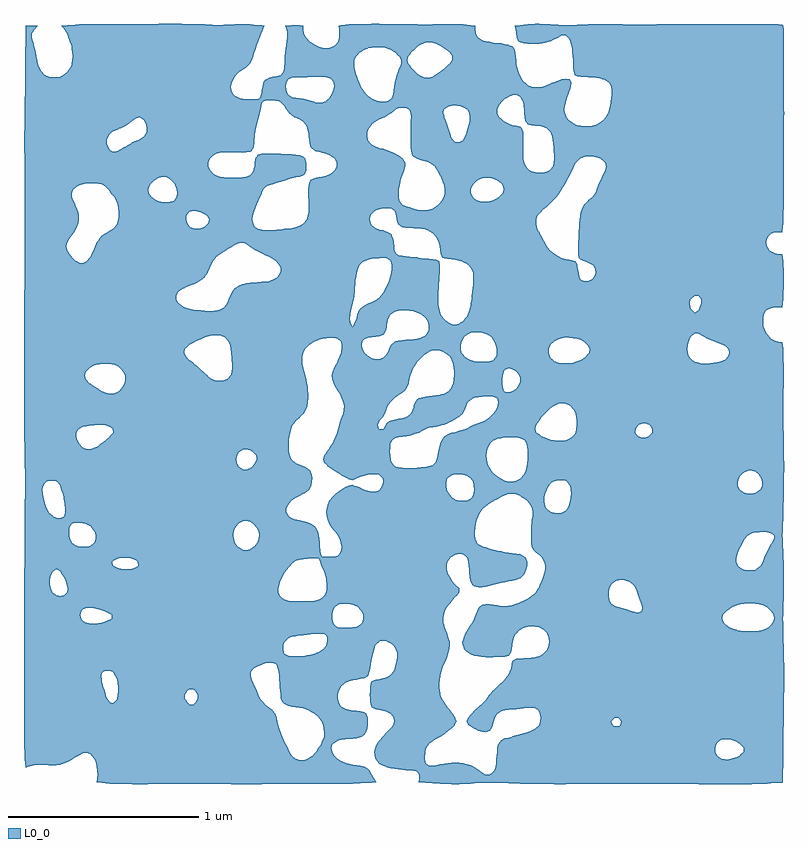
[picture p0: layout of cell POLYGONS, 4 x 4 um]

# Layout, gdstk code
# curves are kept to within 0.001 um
import gdstk
lib = gdstk.Library(unit=1e-6, precision=1e-09)
def P(c, l, *ps):  # polygons
    for p in ps: c.add(gdstk.Polygon(p, *l))
L0_0 = (0, 0)

polygons = lib.new_cell('POLYGONS')
P(polygons, L0_0, [(-1.37,-2),(-1.15,-1.997),(-0.91,-2),(-0.75,-2),(-0.53,-1.997),(-0.27,-1.997),(-0.147,-1.99),(-0.18,-1.93),(-1.614,-1.93),(-1.613,-1.95),(-1.617,-1.99),(-1.59,-1.994),(-1.53,-1.998)],
  [(1.79,-2),(1.87,-1.999),(1.99,-1.993),(1.993,-1.99),(1.993,-1.93),(0.474,-1.93),(0.47,-1.936),(0.45,-1.95),(0.43,-1.95),(0.41,-1.941),(0.398,-1.93),(0.056,-1.93),(0.07,-1.936),(0.08,-1.95),(0.08,-1.97),(0.076,-1.99),(0.11,-1.993),(0.25,-2),(0.33,-1.999),(0.43,-1.992),(0.47,-1.992),(0.69,-1.999),(0.79,-2),(0.99,-1.998)],
  [(-0.19,-1.919),(-0.206,-1.91),(-0.23,-1.903),(-0.29,-1.894),(-0.31,-1.889),(-0.33,-1.88),(-0.35,-1.868),(-0.368,-1.85),(-0.379,-1.83),(-0.383,-1.81),(-0.377,-1.79),(-0.37,-1.784),(-0.35,-1.773),(-0.33,-1.767),(-0.25,-1.758),(-0.23,-1.753),(-0.224,-1.75),(-0.421,-1.75),(-0.437,-1.79),(-0.463,-1.83),(-0.481,-1.85),(-0.49,-1.857),(-0.51,-1.869),(-0.53,-1.875),(-0.55,-1.875),(-0.57,-1.868),(-0.59,-1.85),(-0.61,-1.817),(-0.642,-1.75),(-1.998,-1.75),(-1.998,-1.81),(-1.995,-1.87),(-1.99,-1.914),(-1.97,-1.906),(-1.95,-1.901),(-1.93,-1.899),(-1.83,-1.9),(-1.81,-1.897),(-1.77,-1.883),(-1.746,-1.87),(-1.71,-1.847),(-1.69,-1.838),(-1.67,-1.836),(-1.65,-1.844),(-1.643,-1.85),(-1.63,-1.866),(-1.621,-1.89),(-1.616,-1.91),(-1.614,-1.93),(-0.18,-1.93)],
  [(-0.13,-1.892),(-0.11,-1.904),(-0.095,-1.91),(-0.07,-1.917),(-0.03,-1.923),(0.056,-1.93),(0.398,-1.93),(0.367,-1.91),(0.35,-1.902),(0.33,-1.895),(0.29,-1.888),(0.25,-1.888),(0.23,-1.89),(0.15,-1.903),(0.13,-1.903),(0.113,-1.89),(0.109,-1.87),(0.109,-1.85),(0.111,-1.83),(0.117,-1.81),(0.13,-1.789),(0.156,-1.77),(0.19,-1.75),(-0.112,-1.75),(-0.145,-1.79),(-0.153,-1.81),(-0.156,-1.83),(-0.155,-1.85),(-0.15,-1.868),(-0.133,-1.89)],
  [(0.489,-1.83),(0.485,-1.89),(0.482,-1.91),(0.474,-1.93),(1.993,-1.93),(1.996,-1.75),(0.568,-1.75),(0.53,-1.76),(0.51,-1.77),(0.496,-1.79),(0.491,-1.81),(1.636,-1.81),(1.643,-1.79),(1.65,-1.781),(1.664,-1.77),(1.67,-1.767),(1.69,-1.763),(1.71,-1.764),(1.73,-1.769),(1.75,-1.778),(1.77,-1.79),(1.788,-1.81),(1.787,-1.83),(1.765,-1.85),(1.75,-1.858),(1.711,-1.87),(1.69,-1.871),(1.67,-1.866),(1.65,-1.853),(1.647,-1.85),(1.637,-1.83),(1.636,-1.81),(0.491,-1.81)],
  [(-0.65,-1.73),(-0.657,-1.71),(-0.671,-1.65),(-0.678,-1.63),(-0.694,-1.61),(-0.73,-1.583),(-0.75,-1.561),(-0.757,-1.55),(-1.087,-1.55),(-1.095,-1.57),(-1.11,-1.583),(-1.13,-1.581),(-1.142,-1.57),(-1.153,-1.55),(-1.509,-1.55),(-1.524,-1.57),(-1.53,-1.574),(-1.55,-1.57),(-1.563,-1.55),(-2,-1.55),(-1.998,-1.75),(-0.642,-1.75)],
  [(-0.21,-1.74),(-0.202,-1.73),(-0.194,-1.71),(-0.191,-1.69),(-0.192,-1.65),(-0.199,-1.63),(-0.21,-1.622),(-0.23,-1.617),(-0.291,-1.61),(-0.31,-1.604),(-0.333,-1.59),(-0.345,-1.57),(-0.349,-1.55),(-0.648,-1.55),(-0.639,-1.57),(-0.63,-1.578),(-0.6,-1.59),(-0.53,-1.602),(-0.51,-1.609),(-0.471,-1.63),(-0.45,-1.648),(-0.433,-1.67),(-0.426,-1.69),(-0.42,-1.73),(-0.421,-1.75),(-0.224,-1.75)],
  [(0.21,-1.737),(0.246,-1.71),(0.267,-1.69),(0.27,-1.681),(0.277,-1.67),(0.27,-1.658),(0.268,-1.65),(0.255,-1.63),(0.224,-1.59),(0.198,-1.55),(-0.179,-1.55),(-0.177,-1.57),(-0.173,-1.59),(-0.17,-1.595),(-0.15,-1.607),(-0.11,-1.614),(-0.09,-1.62),(-0.07,-1.63),(-0.054,-1.65),(-0.051,-1.67),(-0.058,-1.69),(-0.074,-1.71),(-0.112,-1.75),(0.19,-1.75)],
  [(0.71,-1.69),(0.689,-1.71),(0.67,-1.719),(0.641,-1.73),(0.568,-1.75),(1.996,-1.75),(1.998,-1.55),(0.436,-1.55),(0.43,-1.558),(0.39,-1.595),(0.337,-1.65),(0.329,-1.67),(0.341,-1.69),(0.373,-1.71),(0.39,-1.718),(0.41,-1.724),(0.43,-1.726),(0.45,-1.72),(0.459,-1.71),(0.467,-1.69),(0.471,-1.67),(0.478,-1.65),(0.49,-1.631),(0.51,-1.618),(0.541,-1.61),(0.65,-1.598),(0.67,-1.597),(0.69,-1.602),(0.702,-1.61),(0.71,-1.62),(0.714,-1.63),(0.718,-1.65),(0.717,-1.67),(1.089,-1.67),(1.109,-1.65),(1.13,-1.653),(1.142,-1.67),(1.137,-1.69),(1.13,-1.695),(1.11,-1.696),(1.097,-1.69),(1.089,-1.67),(0.717,-1.67)],
  [(-2,-1.47),(-2,-1.55),(-1.563,-1.55),(-1.57,-1.534),(-1.588,-1.47),(-1.594,-1.43),(-1.59,-1.418),(-1.584,-1.41),(-1.57,-1.404),(-1.55,-1.403),(-1.53,-1.412),(-1.519,-1.43),(-1.51,-1.449),(-1.506,-1.47),(-1.504,-1.51),(-1.509,-1.55),(-1.153,-1.55),(-1.154,-1.53),(-1.15,-1.521),(-1.142,-1.51),(-1.13,-1.502),(-1.11,-1.502),(-1.099,-1.51),(-1.09,-1.523),(-1.087,-1.53),(-1.087,-1.55),(-0.757,-1.55),(-0.802,-1.45),(-0.808,-1.43),(-0.806,-1.41),(-0.79,-1.39),(-0.75,-1.371),(-0.71,-1.361),(-0.69,-1.361),(-0.67,-1.372),(-0.664,-1.39),(-0.657,-1.43),(-0.648,-1.55),(-0.349,-1.55),(-0.348,-1.53),(-0.343,-1.51),(-0.333,-1.49),(-0.313,-1.47),(-0.29,-1.458),(-0.27,-1.453),(-0.21,-1.444),(-0.19,-1.432),(-0.183,-1.41),(-0.17,-1.339),(-0.163,-1.31),(-0.459,-1.31),(-0.47,-1.314),(-0.51,-1.323),(-0.53,-1.326),(-0.57,-1.328),(-0.59,-1.328),(-0.61,-1.325),(-0.63,-1.314),(-0.633,-1.31),(-1.999,-1.31)],
  [(0.191,-1.53),(0.185,-1.49),(0.185,-1.47),(0.19,-1.434),(0.201,-1.39),(0.233,-1.31),(-0.037,-1.31),(-0.036,-1.33),(-0.039,-1.35),(-0.043,-1.37),(-0.056,-1.41),(-0.075,-1.43),(-0.09,-1.438),(-0.13,-1.449),(-0.15,-1.451),(-0.17,-1.459),(-0.175,-1.47),(-0.178,-1.49),(-0.18,-1.53),(-0.179,-1.55),(0.198,-1.55)],
  [(0.47,-1.332),(0.51,-1.331),(0.55,-1.325),(0.562,-1.31),(0.337,-1.31),(0.37,-1.324),(0.39,-1.328),(0.43,-1.332)],
  [(1.998,-1.53),(1.998,-1.31),(0.737,-1.31),(0.73,-1.316),(0.71,-1.327),(0.69,-1.333),(0.65,-1.338),(0.59,-1.341),(0.573,-1.35),(0.57,-1.357),(0.563,-1.39),(0.557,-1.41),(0.546,-1.43),(0.53,-1.449),(0.467,-1.51),(0.449,-1.53),(0.436,-1.55),(1.998,-1.55)],
  [(-1.55,-1.135),(-1.59,-1.151),(-1.61,-1.154),(-1.65,-1.155),(-1.674,-1.15),(-1.69,-1.14),(-1.699,-1.13),(-1.704,-1.11),(-1.7,-1.09),(-2,-1.09),(-1.999,-1.31),(-0.633,-1.31),(-0.637,-1.29),(-0.636,-1.27),(-0.629,-1.25),(-0.605,-1.23),(-0.59,-1.225),(-0.55,-1.218),(-0.45,-1.208),(-0.43,-1.208),(-0.422,-1.21),(-0.41,-1.217),(-0.405,-1.23),(-0.404,-1.25),(-0.409,-1.27),(-0.425,-1.29),(-0.45,-1.306),(-0.459,-1.31),(-0.163,-1.31),(-0.158,-1.29),(-0.15,-1.267),(-0.132,-1.25),(-0.11,-1.247),(-0.09,-1.249),(-0.07,-1.259),(-0.056,-1.27),(-0.043,-1.29),(-0.037,-1.31),(0.233,-1.31),(0.241,-1.27),(0.24,-1.25),(0.218,-1.19),(0.207,-1.15),(0.205,-1.13),(0.208,-1.11),(0.214,-1.09),(-0.224,-1.09),(-0.216,-1.11),(-0.215,-1.13),(-0.221,-1.15),(-0.23,-1.161),(-0.25,-1.172),(-0.27,-1.176),(-0.31,-1.178),(-0.35,-1.174),(-0.36,-1.17),(-0.37,-1.159),(-0.374,-1.15),(-0.377,-1.13),(-0.375,-1.09),(-1.576,-1.09),(-1.538,-1.11),(-1.539,-1.13)],
  [(0.35,-1.162),(0.321,-1.21),(0.307,-1.25),(0.308,-1.27),(0.317,-1.29),(0.337,-1.31),(0.562,-1.31),(0.567,-1.29),(0.572,-1.25),(0.577,-1.23),(0.588,-1.21),(0.607,-1.19),(0.63,-1.178),(0.65,-1.172),(0.67,-1.17),(0.71,-1.174),(0.73,-1.184),(0.75,-1.204),(0.754,-1.21),(0.761,-1.23),(0.764,-1.25),(0.762,-1.27),(0.754,-1.29),(0.737,-1.31),(1.998,-1.31),(1.993,-1.13),(1.994,-1.09),(1.933,-1.09),(1.945,-1.11),(1.947,-1.13),(1.941,-1.15),(1.924,-1.17),(1.91,-1.179),(1.89,-1.188),(1.87,-1.193),(1.83,-1.197),(1.77,-1.194),(1.73,-1.183),(1.703,-1.17),(1.681,-1.15),(1.673,-1.13),(1.677,-1.11),(1.694,-1.09),(1.25,-1.09),(1.23,-1.098),(1.21,-1.094),(1.199,-1.09),(0.384,-1.09),(0.37,-1.128)],
  [(-1.773,-0.99),(-1.79,-1.008),(-1.81,-1.011),(-1.83,-1.007),(-1.85,-0.992),(-1.86,-0.97),(-1.864,-0.95),(-1.864,-0.93),(-1.861,-0.91),(-1.999,-0.91),(-2,-1.09),(-1.7,-1.09),(-1.69,-1.079),(-1.67,-1.073),(-1.65,-1.073),(-1.63,-1.076),(-1.61,-1.08),(-1.576,-1.09),(-0.375,-1.09),(-0.366,-1.07),(-0.35,-1.057),(-0.33,-1.052),(-0.31,-1.051),(-0.29,-1.052),(-0.27,-1.056),(-0.25,-1.065),(-0.242,-1.07),(-0.224,-1.09),(0.214,-1.09),(0.23,-1.062),(0.25,-1.037),(0.276,-1.01),(0.291,-0.99),(0.29,-0.97),(0.25,-0.928),(0.239,-0.91),(-0.412,-0.91),(-0.407,-0.95),(-0.407,-0.97),(-0.41,-0.991),(-0.419,-1.01),(-0.43,-1.019),(-0.45,-1.03),(-0.51,-1.039),(-0.57,-1.039),(-0.61,-1.034),(-0.63,-1.029),(-0.65,-1.015),(-0.654,-1.01),(-0.662,-0.99),(-0.662,-0.97),(-0.658,-0.95),(-0.65,-0.927),(-0.642,-0.91),(-1.79,-0.91),(-1.774,-0.95),(-1.77,-0.969)],
  [(0.43,-0.961),(0.49,-0.945),(0.59,-0.925),(0.61,-0.916),(0.619,-0.91),(0.345,-0.91),(0.35,-0.936),(0.358,-0.95),(0.37,-0.959),(0.39,-0.964),(0.41,-0.964)],
  [(0.65,-1.024),(0.63,-1.035),(0.59,-1.052),(0.55,-1.062),(0.51,-1.063),(0.45,-1.054),(0.43,-1.053),(0.41,-1.057),(0.39,-1.077),(0.384,-1.09),(1.199,-1.09),(1.17,-1.08),(1.11,-1.064),(1.09,-1.05),(1.08,-1.03),(1.076,-1.01),(1.076,-0.99),(1.08,-0.97),(1.089,-0.95),(1.11,-0.932),(1.13,-0.927),(1.15,-0.926),(1.171,-0.93),(1.19,-0.939),(1.205,-0.95),(1.219,-0.97),(1.227,-0.99),(1.25,-1.06),(1.252,-1.07),(1.25,-1.09),(1.694,-1.09),(1.725,-1.07),(1.75,-1.06),(1.77,-1.054),(1.81,-1.048),(1.852,-1.05),(1.89,-1.06),(1.91,-1.07),(1.933,-1.09),(1.994,-1.09),(1.998,-0.99),(1.998,-0.91),(0.733,-0.91),(0.71,-0.963),(0.694,-0.99),(0.673,-1.01)],
  [(0.742,-0.87),(0.733,-0.91),(1.998,-0.91),(1.996,-0.79),(1.992,-0.728),(1.938,-0.728),(1.93,-0.738),(1.91,-0.775),(1.888,-0.83),(1.877,-0.85),(1.87,-0.857),(1.852,-0.87),(1.83,-0.876),(1.81,-0.876),(1.783,-0.87),(1.77,-0.862),(1.756,-0.85),(1.75,-0.835),(1.749,-0.81),(1.754,-0.79),(1.77,-0.751),(1.783,-0.728),(0.67,-0.728),(0.673,-0.75),(0.683,-0.77),(0.71,-0.793),(0.726,-0.81),(0.738,-0.83),(0.742,-0.85)],
  [(-1.998,-0.87),(-1.999,-0.91),(-1.861,-0.91),(-1.85,-0.882),(-1.83,-0.869),(-1.81,-0.879),(-1.79,-0.91),(-0.642,-0.91),(-0.63,-0.889),(-0.61,-0.862),(-0.59,-0.84),(-0.57,-0.826),(-0.53,-0.816),(-0.49,-0.812),(-0.47,-0.812),(-0.45,-0.814),(-0.441,-0.83),(-0.435,-0.85),(-0.417,-0.89),(-0.412,-0.91),(0.239,-0.91),(0.229,-0.89),(0.225,-0.87),(0.224,-0.85),(0.228,-0.83),(0.242,-0.81),(0.25,-0.803),(0.27,-0.792),(0.29,-0.788),(0.31,-0.791),(0.33,-0.806),(0.332,-0.81),(0.338,-0.83),(0.341,-0.85),(0.345,-0.91),(0.619,-0.91),(0.636,-0.89),(0.644,-0.87),(0.648,-0.85),(0.647,-0.83),(0.641,-0.81),(0.63,-0.8),(0.606,-0.79),(0.53,-0.78),(0.47,-0.767),(0.414,-0.75),(0.39,-0.737),(0.382,-0.728),(-0.333,-0.728),(-0.329,-0.75),(-0.33,-0.77),(-0.341,-0.79),(-0.35,-0.798),(-0.37,-0.804),(-0.39,-0.805),(-0.43,-0.803),(-0.438,-0.79),(-0.445,-0.728),(-0.771,-0.728),(-0.79,-0.752),(-0.81,-0.764),(-0.83,-0.769),(-0.85,-0.766),(-0.87,-0.755),(-0.891,-0.728),(-1.629,-0.728),(-1.65,-0.745),(-1.67,-0.751),(-1.69,-0.752),(-1.71,-0.75),(-1.73,-0.743),(-1.75,-0.728),(-1.997,-0.728),(-1.997,-0.83),(-1.535,-0.83),(-1.53,-0.825),(-1.51,-0.815),(-1.491,-0.81),(-1.47,-0.809),(-1.448,-0.81),(-1.43,-0.814),(-1.41,-0.823),(-1.401,-0.83),(-1.4,-0.85),(-1.41,-0.858),(-1.43,-0.867),(-1.447,-0.87),(-1.475,-0.87),(-1.49,-0.868),(-1.53,-0.852),(-1.532,-0.85),(-1.535,-0.83),(-1.997,-0.83)],
  [(-1.788,-0.59),(-1.81,-0.6),(-1.83,-0.598),(-1.849,-0.59),(-1.87,-0.571),(-1.88,-0.55),(-1.887,-0.53),(-1.898,-0.49),(-1.994,-0.49),(-1.996,-0.55),(-1.997,-0.728),(-1.75,-0.728),(-1.758,-0.71),(-1.762,-0.69),(-1.761,-0.65),(-1.75,-0.63),(-1.73,-0.625),(-1.69,-0.627),(-1.67,-0.632),(-1.65,-0.644),(-1.643,-0.65),(-1.629,-0.67),(-1.623,-0.69),(-1.623,-0.71),(-1.629,-0.728),(-0.891,-0.728),(-0.897,-0.71),(-0.899,-0.69),(-0.896,-0.67),(-0.888,-0.65),(-0.87,-0.627),(-0.85,-0.616),(-0.83,-0.614),(-0.81,-0.619),(-0.79,-0.633),(-0.776,-0.65),(-0.77,-0.661),(-0.766,-0.67),(-0.762,-0.69),(-0.764,-0.71),(-0.771,-0.728),(-0.445,-0.728),(-0.449,-0.69),(-0.454,-0.67),(-0.464,-0.65),(-0.47,-0.644),(-0.49,-0.63),(-0.51,-0.622),(-0.57,-0.609),(-0.59,-0.601),(-0.607,-0.59),(-0.619,-0.57),(-0.619,-0.55),(-0.61,-0.529),(-0.594,-0.51),(-0.57,-0.492),(-0.565,-0.49),(-1.792,-0.49),(-1.788,-0.51),(-1.783,-0.57)],
  [(0.375,-0.71),(0.373,-0.67),(0.378,-0.63),(0.382,-0.61),(0.389,-0.59),(0.4,-0.57),(0.41,-0.555),(0.439,-0.53),(0.47,-0.511),(0.509,-0.49),(0.358,-0.49),(0.35,-0.499),(0.33,-0.508),(0.31,-0.51),(0.29,-0.508),(0.27,-0.503),(0.25,-0.49),(-0.378,-0.49),(-0.393,-0.51),(-0.403,-0.53),(-0.408,-0.55),(-0.409,-0.57),(-0.403,-0.61),(-0.393,-0.63),(-0.38,-0.65),(-0.35,-0.688),(-0.339,-0.71),(-0.333,-0.728),(0.382,-0.728)],
  [(0.665,-0.53),(0.675,-0.55),(0.678,-0.57),(0.669,-0.65),(0.668,-0.71),(0.67,-0.728),(1.783,-0.728),(1.79,-0.714),(1.809,-0.69),(1.83,-0.681),(1.85,-0.676),(1.89,-0.673),(1.91,-0.674),(1.93,-0.679),(1.949,-0.69),(1.949,-0.71),(1.938,-0.728),(1.992,-0.728),(1.991,-0.69),(1.997,-0.49),(0.878,-0.49),(0.875,-0.51),(0.87,-0.528),(0.859,-0.55),(0.85,-0.561),(0.835,-0.57),(0.83,-0.572),(0.81,-0.574),(0.79,-0.573),(0.778,-0.57),(0.77,-0.566),(0.748,-0.55),(0.739,-0.53),(0.737,-0.51),(0.738,-0.49),(0.62,-0.49),(0.63,-0.496),(0.647,-0.51)],
  [(-1.994,-0.49),(-1.898,-0.49),(-1.902,-0.47),(-1.903,-0.45),(-1.9,-0.43),(-1.89,-0.416),(-1.883,-0.41),(-1.87,-0.405),(-1.85,-0.403),(-1.83,-0.407),(-1.81,-0.428),(-1.792,-0.49),(-0.565,-0.49),(-0.524,-0.47),(-0.499,-0.45),(-0.488,-0.43),(-0.484,-0.39),(-0.486,-0.37),(-0.495,-0.35),(-0.51,-0.337),(-0.523,-0.33),(-0.8,-0.33),(-0.81,-0.337),(-0.83,-0.345),(-0.85,-0.344),(-0.87,-0.33),(-1.995,-0.33),(-1.993,-0.39)],
  [(-0.114,-0.43),(-0.13,-0.453),(-0.15,-0.461),(-0.17,-0.461),(-0.19,-0.457),(-0.213,-0.45),(-0.23,-0.441),(-0.25,-0.433),(-0.264,-0.43),(-0.27,-0.424),(-0.29,-0.429),(-0.31,-0.437),(-0.35,-0.464),(-0.378,-0.49),(0.25,-0.49),(0.234,-0.47),(0.225,-0.45),(0.221,-0.43),(0.221,-0.41),(0.23,-0.387),(0.25,-0.374),(0.268,-0.37),(0.29,-0.369),(0.31,-0.371),(0.33,-0.378),(0.35,-0.39),(0.363,-0.41),(0.367,-0.43),(0.368,-0.45),(0.366,-0.47),(0.358,-0.49),(0.509,-0.49),(0.53,-0.479),(0.55,-0.472),(0.57,-0.471),(0.59,-0.475),(0.62,-0.49),(0.738,-0.49),(0.743,-0.47),(0.75,-0.452),(0.761,-0.43),(0.77,-0.42),(0.782,-0.41),(0.79,-0.406),(0.81,-0.401),(0.83,-0.4),(0.85,-0.405),(0.859,-0.41),(1.756,-0.41),(1.762,-0.39),(1.776,-0.37),(1.79,-0.359),(1.81,-0.35),(1.83,-0.349),(1.85,-0.357),(1.865,-0.37),(1.878,-0.39),(1.884,-0.41),(1.884,-0.43),(1.874,-0.45),(1.85,-0.467),(1.83,-0.472),(1.81,-0.472),(1.79,-0.467),(1.77,-0.454),(1.766,-0.45),(1.756,-0.43),(1.756,-0.41),(0.859,-0.41),(0.873,-0.43),(0.878,-0.45),(0.878,-0.49),(1.997,-0.49),(1.999,-0.33),(0.646,-0.33),(0.641,-0.35),(0.63,-0.372),(0.613,-0.39),(0.59,-0.405),(0.57,-0.409),(0.55,-0.409),(0.53,-0.404),(0.51,-0.394),(0.49,-0.381),(0.47,-0.364),(0.458,-0.35),(0.446,-0.33),(0.12,-0.33),(0.05,-0.337),(-0.01,-0.336),(-0.03,-0.334),(-0.044,-0.33),(-0.398,-0.33),(-0.35,-0.362),(-0.31,-0.386),(-0.299,-0.39),(-0.29,-0.397),(-0.27,-0.4),(-0.249,-0.39),(-0.19,-0.372),(-0.17,-0.369),(-0.15,-0.369),(-0.13,-0.373),(-0.113,-0.39),(-0.109,-0.41)],
  [(-1.997,-0.21),(-1.995,-0.33),(-0.87,-0.33),(-0.88,-0.31),(-0.883,-0.29),(-0.879,-0.27),(-0.87,-0.255),(-0.865,-0.25),(-0.85,-0.242),(-0.83,-0.239),(-0.81,-0.244),(-0.797,-0.25),(-0.778,-0.27),(-0.774,-0.29),(-0.782,-0.31),(-0.8,-0.33),(-0.523,-0.33),(-0.572,-0.31),(-0.59,-0.294),(-0.602,-0.27),(-0.606,-0.25),(-0.608,-0.21),(-0.6,-0.15),(-0.595,-0.13),(-1.533,-0.13),(-1.531,-0.15),(-1.55,-0.172),(-1.57,-0.19),(-1.61,-0.221),(-1.627,-0.23),(-1.65,-0.237),(-1.67,-0.237),(-1.688,-0.23),(-1.709,-0.21),(-1.72,-0.19),(-1.726,-0.17),(-1.724,-0.15),(-1.711,-0.13),(-1.998,-0.13)],
  [(-0.419,-0.27),(-0.426,-0.29),(-0.42,-0.31),(-0.398,-0.33),(-0.044,-0.33),(-0.05,-0.327),(-0.066,-0.31),(-0.07,-0.296),(-0.074,-0.27),(-0.075,-0.25),(-0.072,-0.21),(-0.063,-0.19),(-0.05,-0.181),(-0.03,-0.176),(0.01,-0.171),(0.05,-0.16),(0.079,-0.15),(0.09,-0.143),(0.117,-0.13),(-0.108,-0.13),(-0.11,-0.132),(-0.13,-0.133),(-0.133,-0.13),(-0.347,-0.13),(-0.36,-0.17),(-0.37,-0.193),(-0.39,-0.228)],
  [(0.89,-0.17),(0.87,-0.184),(0.854,-0.19),(0.83,-0.194),(0.81,-0.193),(0.782,-0.19),(0.77,-0.187),(0.75,-0.181),(0.722,-0.17),(0.696,-0.15),(0.691,-0.13),(0.328,-0.13),(0.263,-0.15),(0.25,-0.152),(0.23,-0.159),(0.21,-0.172),(0.197,-0.19),(0.19,-0.206),(0.184,-0.23),(0.173,-0.29),(0.17,-0.298),(0.163,-0.31),(0.15,-0.321),(0.12,-0.33),(0.446,-0.33),(0.438,-0.31),(0.434,-0.29),(0.433,-0.27),(0.435,-0.25),(0.44,-0.23),(0.45,-0.21),(0.47,-0.192),(0.49,-0.184),(0.51,-0.179),(0.55,-0.175),(0.59,-0.176),(0.61,-0.179),(0.63,-0.187),(0.634,-0.19),(0.646,-0.21),(0.649,-0.23),(0.651,-0.29),(0.646,-0.33),(1.999,-0.33),(1.996,-0.13),(1.306,-0.13),(1.305,-0.15),(1.29,-0.168),(1.27,-0.177),(1.25,-0.177),(1.231,-0.17),(1.217,-0.15),(1.219,-0.13),(0.907,-0.13),(0.903,-0.15)],
  [(-0.59,-0.117),(-0.571,-0.09),(-0.55,-0.072),(-0.529,-0.05),(-0.517,-0.03),(-0.509,-0.01),(-0.506,0.01),(-0.506,0.07),(-1.497,0.07),(-1.51,0.061),(-1.53,0.054),(-1.55,0.053),(-1.57,0.059),(-1.595,0.07),(-1.998,0.07),(-1.998,-0.13),(-1.711,-0.13),(-1.69,-0.121),(-1.67,-0.116),(-1.616,-0.11),(-1.59,-0.11),(-1.57,-0.113),(-1.55,-0.12),(-1.533,-0.13),(-0.595,-0.13)],
  [(-0.133,-0.13),(-0.138,-0.11),(-0.132,-0.09),(-0.11,-0.067),(-0.101,-0.05),(-0.085,-0.01),(-0.073,0.01),(-0.05,0.032),(0.003,0.07),(-0.349,0.07),(-0.327,0.03),(-0.319,0.01),(-0.316,-0.01),(-0.317,-0.03),(-0.321,-0.05),(-0.347,-0.13)],
  [(1.996,-0.11),(1.994,-0.03),(1.996,0.07),(0.574,0.07),(0.55,0.063),(0.53,0.065),(0.525,0.07),(0.238,0.07),(0.23,0.064),(0.21,0.054),(0.195,0.05),(0.17,0.045),(0.11,0.039),(0.078,0.03),(0.07,0.024),(0.058,0.01),(0.046,-0.03),(0.036,-0.05),(0.03,-0.057),(0.011,-0.07),(-0.05,-0.082),(-0.077,-0.09),(-0.09,-0.101),(-0.097,-0.11),(-0.108,-0.13),(0.117,-0.13),(0.13,-0.126),(0.17,-0.119),(0.21,-0.108),(0.23,-0.101),(0.29,-0.068),(0.308,-0.05),(0.336,0.01),(0.35,0.022),(0.37,0.032),(0.41,0.039),(0.43,0.04),(0.47,0.038),(0.49,0.03),(0.496,0.01),(0.494,-0.01),(0.484,-0.03),(0.47,-0.05),(0.451,-0.07),(0.43,-0.085),(0.367,-0.11),(0.328,-0.13),(0.691,-0.13),(0.696,-0.11),(0.709,-0.09),(0.723,-0.07),(0.761,-0.03),(0.79,-0.008),(0.81,0.001),(0.83,0.004),(0.85,0.002),(0.87,-0.007),(0.892,-0.03),(0.902,-0.05),(0.907,-0.07),(0.909,-0.09),(0.907,-0.13),(1.219,-0.13),(1.23,-0.115),(1.236,-0.11),(1.25,-0.104),(1.27,-0.102),(1.292,-0.11),(1.306,-0.13),(1.996,-0.13)],
  [(-1.998,0.11),(-1.998,0.07),(-1.595,0.07),(-1.629,0.09),(-1.657,0.11),(-1.676,0.13),(-1.681,0.15),(-1.675,0.17),(-1.655,0.19),(-1.65,0.193),(-1.63,0.203),(-1.61,0.209),(-1.57,0.213),(-1.53,0.209),(-1.51,0.2),(-1.49,0.186),(-1.477,0.17),(-1.468,0.15),(-1.466,0.13),(-1.47,0.11),(-1.48,0.09),(-1.497,0.07),(-0.506,0.07),(-0.508,0.09),(-0.519,0.15),(-0.531,0.19),(-0.535,0.21),(-0.537,0.23),(-0.536,0.25),(-0.534,0.258),(-0.909,0.258),(-0.905,0.21),(-0.905,0.19),(-0.906,0.17),(-0.912,0.15),(-0.93,0.131),(-0.95,0.124),(-0.97,0.122),(-0.99,0.123),(-1.011,0.13),(-1.03,0.144),(-1.09,0.2),(-1.11,0.217),(-1.129,0.23),(-1.149,0.25),(-1.152,0.258),(-1.998,0.258)],
  [(0.01,0.077),(0.017,0.09),(0.024,0.11),(0.032,0.15),(0.048,0.19),(0.07,0.222),(0.09,0.244),(0.107,0.258),(-0.095,0.258),(-0.102,0.25),(-0.11,0.244),(-0.13,0.236),(-0.15,0.235),(-0.17,0.241),(-0.187,0.25),(-0.197,0.258),(-0.335,0.258),(-0.376,0.17),(-0.38,0.15),(-0.378,0.13),(-0.371,0.11),(-0.349,0.07),(0.003,0.07)],
  [(0.25,0.087),(0.238,0.07),(0.525,0.07),(0.518,0.09),(0.516,0.11),(0.519,0.15),(0.524,0.17),(0.53,0.18),(0.55,0.188),(0.57,0.184),(0.59,0.172),(0.607,0.15),(0.612,0.13),(0.609,0.11),(0.598,0.09),(0.59,0.081),(0.574,0.07),(1.996,0.07),(1.998,0.13),(1.996,0.25),(1.995,0.258),(1.708,0.258),(1.705,0.25),(1.69,0.234),(1.67,0.225),(1.65,0.22),(1.61,0.214),(1.57,0.213),(1.55,0.216),(1.53,0.222),(1.516,0.23),(1.51,0.235),(1.499,0.25),(1.496,0.258),(0.965,0.258),(0.959,0.25),(0.95,0.243),(0.93,0.231),(0.91,0.224),(0.89,0.218),(0.87,0.215),(0.83,0.214),(0.81,0.218),(0.79,0.226),(0.784,0.23),(0.77,0.244),(0.763,0.258),(0.487,0.258),(0.485,0.25),(0.468,0.23),(0.45,0.225),(0.41,0.222),(0.39,0.223),(0.35,0.231),(0.33,0.241),(0.316,0.25),(0.31,0.258),(0.23,0.258),(0.239,0.25),(0.25,0.233),(0.258,0.21),(0.261,0.19),(0.263,0.17),(0.262,0.13),(0.258,0.11)],
  [(-0.33,0.278),(-0.335,0.258),(-0.197,0.258),(-0.209,0.27),(-0.22,0.29),(-0.223,0.31),(-0.22,0.33),(-0.21,0.34),(-0.19,0.348),(-0.13,0.356),(-0.11,0.365),(-0.105,0.37),(-0.095,0.39),(-0.088,0.43),(-0.259,0.43),(-0.27,0.407),(-0.273,0.41),(-0.283,0.43),(-1.998,0.43),(-1.998,0.258),(-1.152,0.258),(-1.157,0.27),(-1.154,0.29),(-1.13,0.312),(-1.097,0.33),(-1.05,0.35),(-1.01,0.361),(-0.99,0.362),(-0.97,0.361),(-0.95,0.354),(-0.93,0.338),(-0.916,0.31),(-0.912,0.29),(-0.909,0.258),(-0.534,0.258),(-0.531,0.27),(-0.521,0.29),(-0.501,0.31),(-0.49,0.317),(-0.468,0.33),(-0.43,0.344),(-0.39,0.349),(-0.37,0.348),(-0.35,0.344),(-0.332,0.33),(-0.327,0.31),(-0.327,0.29)],
  [(-0.09,0.264),(-0.095,0.258),(0.107,0.258),(0.125,0.27),(0.13,0.275),(0.15,0.283),(0.17,0.284),(0.19,0.281),(0.21,0.271),(0.23,0.258),(0.31,0.258),(0.302,0.27),(0.297,0.29),(0.298,0.31),(0.303,0.33),(0.314,0.35),(0.33,0.365),(0.35,0.374),(0.37,0.377),(0.39,0.377),(0.41,0.375),(0.428,0.37),(0.45,0.359),(0.461,0.35),(0.47,0.339),(0.483,0.31),(0.487,0.29),(0.487,0.258),(0.763,0.258),(0.76,0.27),(0.761,0.29),(0.769,0.31),(0.79,0.331),(0.81,0.342),(0.85,0.35),(0.89,0.347),(0.91,0.343),(0.93,0.337),(0.944,0.33),(0.967,0.31),(0.976,0.29),(0.974,0.27),(0.965,0.258),(1.496,0.258),(1.492,0.27),(1.49,0.287),(1.492,0.31),(1.498,0.33),(1.51,0.356),(1.53,0.373),(1.55,0.37),(1.59,0.347),(1.65,0.322),(1.683,0.31),(1.69,0.306),(1.706,0.29),(1.711,0.27),(1.708,0.258),(1.995,0.258),(1.994,0.29),(1.99,0.326),(1.97,0.327),(1.95,0.332),(1.93,0.344),(1.924,0.35),(1.907,0.37),(1.897,0.39),(1.891,0.41),(1.889,0.43),(0.299,0.43),(0.29,0.423),(0.27,0.417),(0.25,0.42),(0.23,0.43),(0.126,0.43),(0.131,0.41),(0.129,0.39),(0.12,0.37),(0.11,0.36),(0.093,0.35),(0.07,0.343),(0.05,0.34),(-0.03,0.334),(-0.05,0.328),(-0.07,0.31),(-0.086,0.27)],
  [(-1.998,0.53),(-1.998,0.43),(-0.283,0.43),(-0.285,0.45),(-0.284,0.47),(-0.262,0.57),(-0.258,0.63),(-0.253,0.67),(-0.664,0.67),(-0.69,0.653),(-0.71,0.647),(-0.77,0.64),(-0.81,0.638),(-0.85,0.631),(-0.87,0.622),(-0.888,0.61),(-0.905,0.59),(-0.915,0.57),(-0.93,0.53),(-0.95,0.506),(-0.97,0.495),(-1.01,0.489),(-1.053,0.49),(-1.09,0.494),(-1.13,0.501),(-1.15,0.507),(-1.17,0.518),(-1.187,0.53),(-1.2,0.55),(-1.2,0.57),(-1.188,0.59),(-1.17,0.603),(-1.15,0.614),(-1.09,0.638),(-1.071,0.65),(-1.048,0.67),(-1.996,0.67)],
  [(0.23,0.43),(0.21,0.445),(0.194,0.47),(0.187,0.49),(0.183,0.51),(0.18,0.57),(0.186,0.67),(-0.072,0.67),(-0.078,0.65),(-0.09,0.622),(-0.11,0.586),(-0.123,0.57),(-0.13,0.558),(-0.15,0.545),(-0.19,0.528),(-0.21,0.518),(-0.221,0.51),(-0.238,0.49),(-0.246,0.47),(-0.25,0.45),(-0.259,0.43),(-0.088,0.43),(-0.083,0.45),(-0.07,0.473),(-0.05,0.485),(-0.031,0.49),(0.01,0.493),(0.05,0.487),(0.07,0.481),(0.09,0.472),(0.115,0.45),(0.126,0.43)],
  [(0.349,0.51),(0.336,0.47),(0.33,0.459),(0.31,0.436),(0.299,0.43),(1.889,0.43),(1.889,0.45),(1.893,0.47),(1.904,0.49),(1.91,0.495),(1.93,0.505),(1.95,0.508),(1.99,0.506),(1.995,0.55),(1.997,0.67),(1,0.67),(0.99,0.657),(0.977,0.65),(0.97,0.647),(0.95,0.645),(0.934,0.65),(0.93,0.653),(0.922,0.67),(0.365,0.67),(0.363,0.63),(0.352,0.53),(1.503,0.53),(1.507,0.55),(1.51,0.555),(1.529,0.57),(1.55,0.569),(1.564,0.55),(1.564,0.53),(1.55,0.494),(1.53,0.481),(1.518,0.49),(1.51,0.499),(1.506,0.51),(1.503,0.53),(0.352,0.53)],
  [(-1.995,0.79),(-1.996,0.67),(-1.048,0.67),(-1.034,0.69),(-1.01,0.744),(-0.99,0.771),(-0.95,0.801),(-0.89,0.838),(-0.87,0.847),(-0.85,0.849),(-0.83,0.842),(-0.816,0.83),(-0.784,0.81),(-0.745,0.79),(-0.701,0.77),(-0.69,0.764),(-0.672,0.75),(-0.656,0.73),(-0.649,0.71),(-0.651,0.69),(-0.664,0.67),(-0.253,0.67),(-0.245,0.71),(-0.235,0.73),(-0.214,0.75),(-0.19,0.76),(-0.17,0.764),(-0.15,0.767),(-0.11,0.769),(-0.09,0.766),(-0.07,0.753),(-0.065,0.73),(-0.065,0.71),(-0.067,0.69),(-0.072,0.67),(0.186,0.67),(0.188,0.71),(0.188,0.73),(0.184,0.75),(0.17,0.76),(0.11,0.765),(-0.01,0.78),(-0.03,0.784),(-0.041,0.79),(-0.051,0.81),(-0.058,0.87),(-0.064,0.884),(-1.59,0.884),(-1.603,0.87),(-1.616,0.85),(-1.633,0.81),(-1.654,0.77),(-1.67,0.75),(-1.69,0.741),(-1.71,0.744),(-1.73,0.755),(-1.747,0.77),(-1.763,0.79),(-1.773,0.81),(-1.777,0.83),(-1.773,0.85),(-1.751,0.884),(-1.996,0.884)],
  [(0.918,0.69),(0.91,0.735),(0.9,0.75),(0.83,0.768),(0.81,0.777),(0.79,0.79),(0.767,0.81),(0.75,0.831),(0.721,0.884),(0.164,0.884),(0.174,0.87),(0.182,0.85),(0.187,0.83),(0.192,0.79),(0.2,0.77),(0.21,0.766),(0.29,0.754),(0.303,0.75),(0.33,0.737),(0.339,0.73),(0.35,0.718),(0.355,0.71),(0.363,0.69),(0.365,0.67),(0.922,0.67)],
  [(1.997,0.69),(1.996,0.73),(1.99,0.789),(1.97,0.789),(1.95,0.792),(1.93,0.803),(1.922,0.81),(1.908,0.83),(1.905,0.85),(1.91,0.873),(1.918,0.884),(0.919,0.884),(0.916,0.81),(0.92,0.77),(0.93,0.758),(0.97,0.744),(0.99,0.734),(0.994,0.73),(1.006,0.71),(1.008,0.69),(1,0.67),(1.997,0.67)],
  [(-1.75,0.885),(-1.733,0.91),(-1.723,0.93),(-1.715,0.95),(-1.711,0.97),(-1.711,0.99),(-1.715,1.01),(-1.722,1.03),(-1.739,1.067),(-1.997,1.067),(-1.996,0.884)],
  [(1.923,0.89),(1.93,0.896),(1.95,0.903),(1.97,0.905),(1.99,0.904),(1.993,0.93),(1.996,0.99),(1.997,1.067),(0.966,1.067),(0.95,1.052),(0.937,1.03),(0.93,1.01),(0.926,0.99),(0.922,0.95),(0.919,0.884),(1.918,0.884)],
  [(-0.17,1.001),(-0.162,1.01),(-0.15,1.019),(-0.13,1.026),(-0.11,1.03),(-0.09,1.031),(-0.07,1.029),(-0.05,1.017),(-0.046,1.01),(-0.033,0.95),(-0.03,0.946),(-0.01,0.931),(0.01,0.928),(0.07,0.925),(0.11,0.919),(0.13,0.911),(0.15,0.899),(0.164,0.884),(0.721,0.884),(0.707,0.91),(0.699,0.93),(0.695,0.95),(0.695,0.97),(0.701,0.99),(0.718,1.01),(0.763,1.05),(0.78,1.067),(0.451,1.067),(0.43,1.063),(0.41,1.064),(0.397,1.067),(0.196,1.067),(0.19,1.058),(0.182,1.05),(0.17,1.04),(0.15,1.028),(0.13,1.022),(0.11,1.02),(0.09,1.02),(0.07,1.023),(0.01,1.041),(-0.012,1.05),(-0.024,1.067),(-0.503,1.067),(-0.502,1.03),(-0.506,0.99),(-0.513,0.97),(-0.53,0.948),(-0.55,0.937),(-0.57,0.93),(-0.59,0.926),(-0.65,0.918),(-0.71,0.914),(-0.75,0.917),(-0.77,0.922),(-0.783,0.93),(-0.795,0.95),(-0.798,0.97),(-0.796,0.99),(-0.783,1.03),(-0.768,1.067),(-1.218,1.067),(-1.23,1.063),(-1.25,1.061),(-1.27,1.062),(-1.29,1.067),(-1.514,1.067),(-1.51,1.058),(-1.503,1.03),(-1.502,0.99),(-1.504,0.97),(-1.146,0.97),(-1.145,0.99),(-1.133,1.01),(-1.13,1.012),(-1.11,1.016),(-1.09,1.015),(-1.07,1.01),(-1.036,0.99),(-1.025,0.97),(-1.03,0.95),(-1.05,0.932),(-1.054,0.93),(-1.07,0.925),(-1.09,0.922),(-1.11,0.924),(-1.13,0.934),(-1.14,0.95),(-1.146,0.97),(-1.504,0.97),(-1.51,0.949),(-1.523,0.93),(-1.53,0.923),(-1.57,0.899),(-1.59,0.884),(-0.064,0.884),(-0.066,0.89),(-0.07,0.895),(-0.09,0.907),(-0.15,0.925),(-0.158,0.93),(-0.17,0.941),(-0.176,0.95),(-0.181,0.97),(-0.177,0.99)],
  [(-1.543,1.11),(-1.53,1.096),(-1.514,1.067),(-1.29,1.067),(-1.31,1.076),(-1.33,1.09),(-1.343,1.11),(-1.346,1.13),(-1.339,1.15),(-1.323,1.17),(-1.31,1.18),(-1.29,1.191),(-1.27,1.195),(-1.25,1.193),(-1.23,1.183),(-1.216,1.17),(-1.203,1.15),(-1.196,1.13),(-1.193,1.11),(-1.196,1.09),(-1.209,1.07),(-1.218,1.067),(-0.768,1.067),(-0.741,1.13),(-0.73,1.141),(-0.714,1.15),(-0.65,1.17),(-0.59,1.188),(-0.53,1.203),(-0.523,1.21),(-0.516,1.23),(-0.792,1.23),(-0.803,1.21),(-0.81,1.204),(-0.83,1.195),(-0.89,1.19),(-0.93,1.191),(-0.97,1.196),(-0.99,1.203),(-1.002,1.21),(-1.01,1.216),(-1.021,1.23),(-1.997,1.23),(-1.997,1.067),(-1.739,1.067),(-1.748,1.09),(-1.75,1.11),(-1.74,1.13),(-1.71,1.151),(-1.67,1.161),(-1.63,1.162),(-1.61,1.16),(-1.59,1.155),(-1.57,1.142),(-1.558,1.13)],
  [(-0.026,1.07),(-0.029,1.09),(-0.028,1.13),(-0.014,1.19),(0.001,1.23),(-0.365,1.23),(-0.39,1.209),(-0.41,1.201),(-0.47,1.188),(-0.49,1.179),(-0.497,1.17),(-0.502,1.15),(-0.504,1.13),(-0.503,1.067),(-0.024,1.067)],
  [(0.21,1.096),(0.196,1.067),(0.397,1.067),(0.387,1.07),(0.37,1.081),(0.361,1.09),(0.351,1.11),(0.351,1.13),(0.36,1.15),(0.378,1.17),(0.39,1.179),(0.41,1.188),(0.421,1.19),(0.452,1.19),(0.47,1.186),(0.502,1.17),(0.519,1.15),(0.524,1.13),(0.519,1.11),(0.5,1.09),(0.49,1.083),(0.47,1.073),(0.451,1.067),(0.78,1.067),(0.802,1.09),(0.817,1.11),(0.83,1.133),(0.854,1.17),(0.87,1.199),(0.884,1.23),(0.767,1.23),(0.75,1.222),(0.73,1.218),(0.71,1.217),(0.69,1.219),(0.67,1.225),(0.659,1.23),(0.174,1.23),(0.19,1.202),(0.21,1.15),(0.214,1.13),(0.213,1.11)],
  [(1.998,1.07),(1.997,1.23),(1.058,1.23),(1.021,1.15),(1.005,1.11),(0.992,1.09),(0.966,1.067),(1.997,1.067)],
  [(-1.998,1.35),(-1.997,1.23),(-1.021,1.23),(-1.03,1.25),(-1.03,1.27),(-1.022,1.29),(-1.01,1.304),(-1.002,1.31),(-0.99,1.316),(-0.97,1.322),(-0.95,1.324),(-0.91,1.325),(-0.85,1.323),(-0.83,1.324),(-0.804,1.33),(-0.792,1.35),(-0.789,1.37),(-0.785,1.421),(-1.36,1.421),(-1.366,1.41),(-1.37,1.406),(-1.394,1.39),(-1.41,1.385),(-1.43,1.376),(-1.49,1.34),(-1.51,1.33),(-1.53,1.326),(-1.55,1.337),(-1.558,1.35),(-1.564,1.37),(-1.565,1.39),(-1.558,1.41),(-1.55,1.421),(-1.998,1.421)],
  [(-0.496,1.37),(-0.49,1.35),(-0.47,1.332),(-0.41,1.317),(-0.391,1.31),(-0.364,1.29),(-0.354,1.27),(-0.355,1.25),(-0.365,1.23),(0.001,1.23),(0.006,1.25),(0.006,1.27),(-0.007,1.29),(-0.03,1.308),(-0.05,1.319),(-0.075,1.33),(-0.11,1.342),(-0.14,1.35),(-0.17,1.365),(-0.176,1.37),(-0.19,1.389),(-0.195,1.41),(-0.194,1.421),(-0.502,1.421)],
  [(0.65,1.237),(0.639,1.25),(0.631,1.27),(0.628,1.29),(0.627,1.421),(0.326,1.421),(0.311,1.39),(0.29,1.377),(0.27,1.378),(0.255,1.39),(0.25,1.399),(0.242,1.421),(0.034,1.421),(0.035,1.35),(0.037,1.33),(0.043,1.31),(0.05,1.302),(0.07,1.29),(0.133,1.27),(0.15,1.26),(0.17,1.238),(0.174,1.23),(0.659,1.23)],
  [(1.997,1.25),(1.998,1.421),(0.775,1.421),(0.78,1.41),(0.786,1.37),(0.789,1.29),(0.788,1.27),(0.784,1.25),(0.767,1.23),(0.884,1.23),(0.903,1.27),(0.925,1.29),(0.95,1.301),(0.97,1.304),(0.99,1.303),(1.01,1.299),(1.034,1.29),(1.05,1.278),(1.058,1.27),(1.063,1.25),(1.058,1.23),(1.997,1.23)],
  [(-0.515,1.25),(-0.516,1.27),(-0.521,1.29),(-0.53,1.301),(-0.55,1.309),(-0.59,1.313),(-0.67,1.317),(-0.71,1.318),(-0.75,1.316),(-0.77,1.311),(-0.782,1.29),(-0.787,1.25),(-0.792,1.23),(-0.516,1.23)],
  [(-0.784,1.43),(-0.781,1.45),(-0.759,1.53),(-0.75,1.579),(-0.743,1.59),(-0.73,1.596),(-1.995,1.596),(-1.998,1.421),(-1.55,1.421),(-1.53,1.435),(-1.49,1.452),(-1.456,1.47),(-1.41,1.504),(-1.39,1.508),(-1.37,1.495),(-1.366,1.49),(-1.357,1.47),(-1.353,1.45),(-1.355,1.43),(-1.36,1.421),(-0.785,1.421)],
  [(0.036,1.49),(0.034,1.421),(0.242,1.421),(0.206,1.53),(0.208,1.55),(0.23,1.565),(0.25,1.57),(0.27,1.571),(0.29,1.569),(0.31,1.562),(0.331,1.55),(0.343,1.53),(0.346,1.51),(0.345,1.49),(0.341,1.47),(0.326,1.421),(0.627,1.421),(0.626,1.43),(0.62,1.45),(0.61,1.458),(0.55,1.474),(0.53,1.484),(0.51,1.501),(0.502,1.51),(0.49,1.53),(0.489,1.55),(0.498,1.57),(0.51,1.587),(0.519,1.596),(-0.084,1.596),(-0.09,1.592),(-0.11,1.591),(-0.13,1.593),(-0.143,1.596),(-0.409,1.596),(-0.41,1.594),(-0.43,1.586),(-0.45,1.585),(-0.47,1.589),(-0.493,1.596),(-0.675,1.596),(-0.651,1.59),(-0.63,1.57),(-0.619,1.55),(-0.604,1.53),(-0.577,1.51),(-0.55,1.497),(-0.53,1.484),(-0.518,1.47),(-0.51,1.454),(-0.502,1.421),(-0.194,1.421),(-0.193,1.43),(-0.185,1.45),(-0.171,1.47),(-0.15,1.487),(-0.101,1.51),(-0.067,1.53),(-0.05,1.546),(-0.03,1.557),(-0.01,1.56),(0.01,1.558),(0.025,1.55),(0.03,1.545),(0.036,1.53)],
  [(1.998,1.43),(1.998,1.596),(1.088,1.596),(1.084,1.57),(1.073,1.53),(1.062,1.51),(1.05,1.496),(1.03,1.48),(1.01,1.47),(0.99,1.464),(0.97,1.461),(0.93,1.463),(0.91,1.468),(0.89,1.476),(0.87,1.491),(0.854,1.51),(0.846,1.53),(0.843,1.55),(0.845,1.57),(0.853,1.596),(0.623,1.596),(0.626,1.59),(0.63,1.57),(0.637,1.49),(0.65,1.473),(0.656,1.47),(0.67,1.467),(0.71,1.463),(0.73,1.459),(0.751,1.45),(0.77,1.432),(0.775,1.421),(1.998,1.421)],
  [(-0.75,1.641),(-0.752,1.63),(-0.759,1.61),(-0.77,1.604),(-0.81,1.603),(-0.85,1.607),(-0.87,1.611),(-0.89,1.621),(-0.9,1.63),(-0.91,1.65),(-0.912,1.67),(-0.908,1.69),(-0.899,1.71),(-0.885,1.73),(-0.87,1.745),(-0.834,1.77),(-1.756,1.77),(-1.77,1.748),(-1.79,1.732),(-1.81,1.722),(-1.83,1.719),(-1.85,1.719),(-1.87,1.723),(-1.89,1.731),(-1.91,1.75),(-1.921,1.77),(-1.994,1.77),(-1.993,1.69),(-1.995,1.596),(-0.493,1.596),(-0.55,1.609),(-0.59,1.615),(-0.61,1.626),(-0.613,1.63),(-0.62,1.65),(-0.622,1.67),(-0.62,1.69),(-0.609,1.71),(-0.59,1.716),(-0.47,1.722),(-0.43,1.722),(-0.41,1.72),(-0.39,1.714),(-0.384,1.71),(-0.369,1.69),(-0.368,1.67),(-0.373,1.65),(-0.381,1.63),(-0.394,1.61),(-0.409,1.596),(-0.143,1.596),(-0.15,1.597),(-0.17,1.607),(-0.19,1.621),(-0.216,1.65),(-0.228,1.67),(-0.244,1.71),(-0.258,1.75),(-0.262,1.77),(-0.631,1.77),(-0.634,1.75),(-0.65,1.73),(-0.71,1.717),(-0.724,1.71),(-0.73,1.705),(-0.74,1.69)],
  [(0.857,1.61),(0.872,1.65),(0.877,1.67),(0.879,1.69),(0.871,1.71),(0.85,1.712),(0.83,1.709),(0.778,1.69),(0.75,1.676),(0.73,1.669),(0.71,1.666),(0.69,1.666),(0.67,1.67),(0.65,1.678),(0.63,1.696),(0.61,1.727),(0.595,1.77),(0.217,1.77),(0.19,1.748),(0.17,1.734),(0.15,1.722),(0.13,1.716),(0.11,1.717),(0.09,1.724),(0.07,1.738),(0.056,1.75),(0.037,1.77),(-0.023,1.77),(-0.03,1.756),(-0.045,1.71),(-0.05,1.69),(-0.058,1.63),(-0.07,1.603),(-0.084,1.596),(0.519,1.596),(0.53,1.606),(0.55,1.618),(0.57,1.625),(0.59,1.626),(0.61,1.618),(0.617,1.61),(0.623,1.596),(0.853,1.596)],
  [(1.998,1.61),(1.998,1.77),(0.891,1.77),(0.892,1.75),(0.897,1.73),(0.91,1.724),(0.97,1.72),(1.03,1.713),(1.05,1.708),(1.07,1.698),(1.08,1.69),(1.09,1.67),(1.093,1.65),(1.093,1.63),(1.088,1.596),(1.998,1.596)],
  [(-1.927,1.79),(-1.943,1.87),(-1.959,1.93),(-1.958,1.95),(-1.955,1.955),(-1.991,1.955),(-1.994,1.77),(-1.921,1.77)],
  [(-0.83,1.773),(-0.812,1.79),(-0.801,1.81),(-0.77,1.902),(-0.75,1.955),(-1.778,1.955),(-1.758,1.91),(-1.75,1.881),(-1.745,1.85),(-1.743,1.83),(-1.745,1.81),(-1.75,1.786),(-1.756,1.77),(-0.834,1.77)],
  [(-0.631,1.77),(-0.262,1.77),(-0.263,1.79),(-0.261,1.81),(-0.252,1.83),(-0.233,1.85),(-0.21,1.863),(-0.19,1.871),(-0.15,1.878),(-0.11,1.876),(-0.09,1.871),(-0.07,1.863),(-0.047,1.85),(-0.03,1.833),(-0.025,1.83),(-0.015,1.81),(-0.016,1.79),(-0.023,1.77),(0.037,1.77),(0.03,1.783),(0.023,1.79),(0.017,1.81),(0.023,1.83),(0.03,1.837),(0.038,1.85),(0.07,1.88),(0.086,1.89),(0.11,1.9),(0.13,1.903),(0.15,1.902),(0.17,1.895),(0.19,1.885),(0.215,1.87),(0.24,1.85),(0.254,1.83),(0.253,1.81),(0.239,1.79),(0.217,1.77),(0.595,1.77),(0.591,1.79),(0.585,1.85),(0.58,1.87),(0.57,1.882),(0.548,1.89),(0.53,1.894),(0.43,1.908),(0.41,1.914),(0.387,1.93),(0.377,1.955),(-0.34,1.955),(-0.341,1.93),(-0.347,1.91),(-0.35,1.903),(-0.36,1.89),(-0.37,1.882),(-0.39,1.874),(-0.41,1.872),(-0.43,1.874),(-0.45,1.88),(-0.471,1.89),(-0.498,1.91),(-0.517,1.93),(-0.528,1.95),(-0.528,1.955),(-0.615,1.955),(-0.615,1.93),(-0.624,1.87),(-0.628,1.83)],
  [(1.998,1.79),(1.997,1.955),(0.59,1.955),(0.594,1.93),(0.601,1.91),(0.61,1.903),(0.63,1.897),(0.69,1.895),(0.73,1.899),(0.77,1.909),(0.83,1.939),(0.85,1.94),(0.862,1.93),(0.87,1.921),(0.875,1.91),(0.88,1.89),(0.884,1.87),(0.888,1.83),(0.891,1.77),(1.998,1.77)],
  [(-0.75,1.956),(-0.735,1.99),(-0.79,1.996),(-0.83,1.998),(-0.87,1.998),(-0.97,1.994),(-1.17,2),(-1.29,2),(-1.37,1.998),(-1.67,1.998),(-1.71,1.997),(-1.803,1.99),(-1.79,1.976),(-1.778,1.955)],
  [(1.997,1.97),(1.996,1.99),(1.99,1.996),(1.91,1.998),(1.63,1.997),(1.47,1.999),(1.27,1.995),(1.15,1.997),(0.97,1.997),(0.87,1.993),(0.83,1.993),(0.77,1.998),(0.69,2),(0.65,1.998),(0.583,1.99),(0.59,1.955),(1.997,1.955)],
  [(0.375,1.97),(0.375,1.99),(0.35,1.994),(0.29,1.999),(0.23,1.999),(0.13,1.996),(-0.13,2),(-0.25,1.999),(-0.29,1.997),(-0.33,1.993),(-0.344,1.99),(-0.34,1.955),(0.377,1.955)],
  [(-0.53,1.966),(-0.531,1.97),(-0.53,1.99),(-0.55,1.992),(-0.57,1.992),(-0.59,1.992),(-0.61,1.991),(-0.626,1.99),(-0.618,1.97),(-0.615,1.955),(-0.528,1.955)],
  [(-1.95,1.965),(-1.947,1.97),(-1.93,1.988),(-1.927,1.99),(-1.93,1.99),(-1.95,1.991),(-1.97,1.991),(-1.99,1.992),(-1.992,1.99),(-1.992,1.97),(-1.991,1.955),(-1.955,1.955)])

lib.write_gds('POLYGONS.gds')
